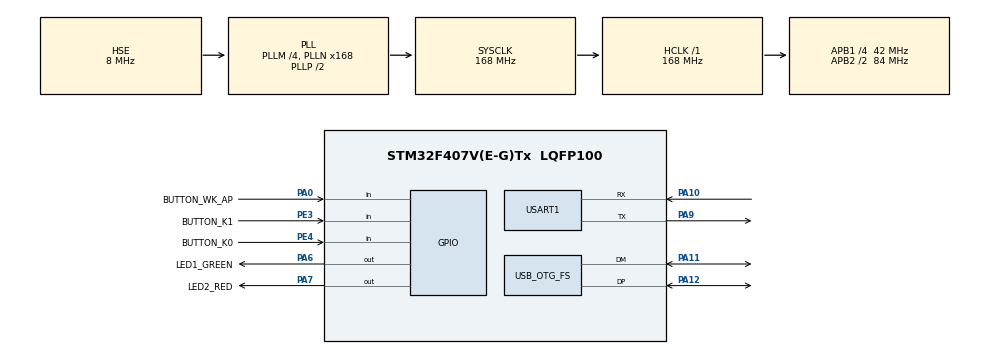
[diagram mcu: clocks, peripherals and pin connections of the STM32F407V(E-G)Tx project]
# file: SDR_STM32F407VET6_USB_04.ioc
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Mcu.Family=STM32F4
Mcu.Name=STM32F407V(E-G)Tx
Mcu.Package=LQFP100
NVIC.OTG_FS_IRQn=true\:0\:0\:false\:false\:true\:false\:true\:true
NVIC.PriorityGroup=NVIC_PRIORITYGROUP_4
PA0-WKUP.GPIO_Label=BUTTON_WK_AP
PA0-WKUP.Signal=GPIO_Input
PA10.Mode=Asynchronous
PA10.Signal=USART1_RX
PA11.Mode=Host_Only
PA11.Signal=USB_OTG_FS_DM
PA12.Mode=Host_Only
PA12.Signal=USB_OTG_FS_DP
PA6.GPIO_Label=LED1_GREEN
PA6.Signal=GPIO_Output
PA7.GPIO_Label=LED2_RED
PA7.Signal=GPIO_Output
PA9.Mode=Asynchronous
PA9.Signal=USART1_TX
PE3.GPIO_Label=BUTTON_K1
PE3.Signal=GPIO_Input
PE4.GPIO_Label=BUTTON_K0
PE4.Signal=GPIO_Input
PH0-OSC_IN.Mode=HSE-External-Oscillator
PH0-OSC_IN.Signal=RCC_OSC_IN
PH1-OSC_OUT.Mode=HSE-External-Oscillator
PH1-OSC_OUT.Signal=RCC_OSC_OUT
ProjectManager.HeapSize=0x400
ProjectManager.StackSize=0x400
ProjectManager.TargetToolchain=MDK-ARM V5.32
RCC.48MHZClocksFreq_Value=48000000
RCC.AHBFreq_Value=168000000
RCC.APB1CLKDivider=RCC_HCLK_DIV4
RCC.APB1Freq_Value=42000000
RCC.APB1TimFreq_Value=84000000
RCC.APB2CLKDivider=RCC_HCLK_DIV2
RCC.APB2Freq_Value=84000000
RCC.APB2TimCLKDivider=2
RCC.APB2TimFreq_Value=168000000
RCC.CortexFreq_Value=168000000
RCC.HCLKFreq_Value=168000000
RCC.HSE_VALUE=8000000
RCC.HSI_VALUE=16000000
RCC.LSE_VALUE=32768
RCC.PLLM=4
RCC.PLLN=168
RCC.PLLQ=7
RCC.SYSCLKFreq_VALUE=168000000
RCC.SYSCLKSource=RCC_SYSCLKSOURCE_PLLCLK
RCC.VCOOutputFreq_Value=336000000
USART1.VirtualMode=VM_ASYNC
USB_HOST.USBH_DEBUG_LEVEL-HID_FS=2
USB_HOST.USBH_HandleTypeDef-HID_FS=hUsbHostFS
USB_HOST.VirtualModeFS=Hid
USB_OTG_FS.VirtualMode=Host_Only
USB_OTG_FS.phy_itface=HCD_PHY_EMBEDDED
VP_TIM3_VS_ClockSourceINT.Mode=Internal
VP_USB_HOST_VS_USB_HOST_HID_FS.Mode=HID_FS
board=custom

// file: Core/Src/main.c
/* USER CODE BEGIN Header */
/**
  ******************************************************************************
  * @file           : main.c
  * @brief          : Main program body
  ******************************************************************************
  * @attention
  *
  * Copyright (c) 2023 STMicroelectronics.
  * All rights reserved.
  *
  * This software is licensed under terms that can be found in the LICENSE file
  * in the root directory of this software component.
  * If no LICENSE file comes with this software, it is provided AS-IS.
  *
  ******************************************************************************
  */
/* USER CODE END Header */
#include "main.h"
#include "usb_host.h"

/* USER CODE BEGIN Includes */
#include "stdint.h"
#include "string.h"
#include <stdlib.h>
#include <stdio.h>

/* USER CODE END Includes */

/* USER CODE BEGIN PTD */
GPIO_TypeDef* GPIO_PORT[LEDn] = {LED1_GREEN_GPIO_Port,
                                 LED2_RED_GPIO_Port};

const uint16_t GPIO_PIN[LEDn] = {LED1_GREEN_Pin,
	                               LED2_RED_Pin};

void BSP_LED_On(Led_TypeDef Led)
{
  HAL_GPIO_WritePin(GPIO_PORT[Led], GPIO_PIN[Led], GPIO_PIN_RESET);
}

void BSP_LED_Off(Led_TypeDef Led)
{
  HAL_GPIO_WritePin(GPIO_PORT[Led], GPIO_PIN[Led], GPIO_PIN_SET);
}

void BSP_LED_Toggle(Led_TypeDef Led)
{
  HAL_GPIO_TogglePin(GPIO_PORT[Led], GPIO_PIN[Led]);
}

GPIO_TypeDef* BUTTON_PORT[BUTTONn] = {BUTTON_WK_AP_GPIO_Port,
                                      BUTTON_K0_GPIO_Port,
                                      BUTTON_K1_GPIO_Port};

const uint16_t BUTTON_PIN[BUTTONn] = {BUTTON_WK_AP_Pin,
                                      BUTTON_K0_Pin,
                                      BUTTON_K1_Pin};

const uint16_t BUTTON_IRQn[BUTTONn] = {BUTTON_WK_AP_EXTI_IRQn,
                                       BUTTON_K0_EXTI_IRQn,
                                       BUTTON_K1_EXTI_IRQn};

uint32_t BSP_PB_GetState(Button_TypeDef Button)
{
  return HAL_GPIO_ReadPin(BUTTON_PORT[Button], BUTTON_PIN[Button]);
}

/* USER CODE END PTD */

/* USER CODE BEGIN PD */
USBH_HandleTypeDef hUSBHost;
/* USER CODE END PD */

/* USER CODE BEGIN PM */
uint8_t currentScreen=0;
/* USER CODE END PM */

TIM_HandleTypeDef htim3;

UART_HandleTypeDef huart1;

/* USER CODE BEGIN PV */
	#ifdef __GNUC__
  /* With GCC, small printf (option LD Linker->Libraries->Small printf
     set to 'Yes') calls __io_putchar() */
  #define PUTCHAR_PROTOTYPE int __io_putchar(int ch)
#else
  #define PUTCHAR_PROTOTYPE int fputc(int ch, FILE *f)
#endif /* __GNUC__ */

/* USER CODE END PV */

void SystemClock_Config(void);
static void MX_GPIO_Init(void);
static void MX_USART1_UART_Init(void);
static void MX_TIM3_Init(void);
void MX_USB_HOST_Process(void);

int main(void)
{

  /* MCU Configuration--------------------------------------------------------*/

  /* Reset of all peripherals, Initializes the Flash interface and the Systick. */
  HAL_Init();

  /* Configure the system clock */
  SystemClock_Config();

  /* Initialize all configured peripherals */
  MX_GPIO_Init();
  MX_USART1_UART_Init();
  MX_USB_HOST_Init();
  MX_TIM3_Init();
  /* USER CODE BEGIN 2 */
	BSP_LED_Off(LED1);
	BSP_LED_Off(LED2);
	HAL_Delay(200);
	BSP_LED_On(LED1);
	BSP_LED_On(LED2);
	HAL_Delay(200);
	BSP_LED_Off(LED1);
	BSP_LED_Off(LED2);
	printf("Start system\r\n");

//	uint8_t start_text[]="Hello from start\n\r";
//	HAL_UART_Transmit(&huart1,start_text,20,0xFFFF);

RTLSDR_HandleTypeDef *RTLSDR_Handle =	(RTLSDR_HandleTypeDef*) hUSBHost.pActiveClass->pData;

#ifdef USE_USB_HS
  //LCD_LOG_SetHeader((uint8_t *)" USB OTG HS RTLSDR Host");
  LCD_LOG_SetHeader((uint8_t *)" STM32F7 USB HS RTL-SDR Host");
#else
  printf("STM32F4 USB FS RTL-SDR Host\r\n");
#endif

  /* USER CODE END 2 */

  /* Infinite loop */
  while (1)
  {
    MX_USB_HOST_Process();

    /* USER CODE BEGIN 3 */
//		if (RTLSDR_Handle->xferState==RTLSDR_XFER_COMPLETE)
//		{
//			printf("RTLSDR_Handle\r\n");
//		USBH_UsrLog("St %d", *RTLSDR_Handle);
//		//	printf("St %d", *RTLSDR_Handle);
//		RTLSDR_Handle->xferState = RTLSDR_XFER_START;
//		}

  }
  /* USER CODE END 3 */
}

void SystemClock_Config(void)
{
  RCC_OscInitTypeDef RCC_OscInitStruct = {0};
  RCC_ClkInitTypeDef RCC_ClkInitStruct = {0};

  /** Configure the main internal regulator output voltage
  */
  __HAL_RCC_PWR_CLK_ENABLE();
  __HAL_PWR_VOLTAGESCALING_CONFIG(PWR_REGULATOR_VOLTAGE_SCALE1);

  /** Initializes the RCC Oscillators according to the specified parameters
  * in the RCC_OscInitTypeDef structure.
  */
  RCC_OscInitStruct.OscillatorType = RCC_OSCILLATORTYPE_HSE;
  RCC_OscInitStruct.HSEState = RCC_HSE_ON;
  RCC_OscInitStruct.PLL.PLLState = RCC_PLL_ON;
  RCC_OscInitStruct.PLL.PLLSource = RCC_PLLSOURCE_HSE;
  RCC_OscInitStruct.PLL.PLLM = 4;
  RCC_OscInitStruct.PLL.PLLN = 168;
  RCC_OscInitStruct.PLL.PLLP = RCC_PLLP_DIV2;
  RCC_OscInitStruct.PLL.PLLQ = 7;
  if (HAL_RCC_OscConfig(&RCC_OscInitStruct) != HAL_OK)
  {
    Error_Handler();
  }

  /** Initializes the CPU, AHB and APB buses clocks
  */
  RCC_ClkInitStruct.ClockType = RCC_CLOCKTYPE_HCLK|RCC_CLOCKTYPE_SYSCLK
                              |RCC_CLOCKTYPE_PCLK1|RCC_CLOCKTYPE_PCLK2;
  RCC_ClkInitStruct.SYSCLKSource = RCC_SYSCLKSOURCE_PLLCLK;
  RCC_ClkInitStruct.AHBCLKDivider = RCC_SYSCLK_DIV1;
  RCC_ClkInitStruct.APB1CLKDivider = RCC_HCLK_DIV4;
  RCC_ClkInitStruct.APB2CLKDivider = RCC_HCLK_DIV2;

  if (HAL_RCC_ClockConfig(&RCC_ClkInitStruct, FLASH_LATENCY_5) != HAL_OK)
  {
    Error_Handler();
  }
}

static void MX_TIM3_Init(void)
{

  TIM_ClockConfigTypeDef sClockSourceConfig = {0};
  TIM_MasterConfigTypeDef sMasterConfig = {0};

  htim3.Instance = TIM3;
  htim3.Init.Prescaler = 0;
  htim3.Init.CounterMode = TIM_COUNTERMODE_UP;
  htim3.Init.Period = 65535;
  htim3.Init.ClockDivision = TIM_CLOCKDIVISION_DIV1;
  htim3.Init.AutoReloadPreload = TIM_AUTORELOAD_PRELOAD_DISABLE;
  if (HAL_TIM_Base_Init(&htim3) != HAL_OK)
  {
    Error_Handler();
  }
  sClockSourceConfig.ClockSource = TIM_CLOCKSOURCE_INTERNAL;
  if (HAL_TIM_ConfigClockSource(&htim3, &sClockSourceConfig) != HAL_OK)
  {
    Error_Handler();
  }
  sMasterConfig.MasterOutputTrigger = TIM_TRGO_RESET;
  sMasterConfig.MasterSlaveMode = TIM_MASTERSLAVEMODE_DISABLE;
  if (HAL_TIMEx_MasterConfigSynchronization(&htim3, &sMasterConfig) != HAL_OK)
  {
    Error_Handler();
  }

}

static void MX_USART1_UART_Init(void)
{

  huart1.Instance = USART1;
  huart1.Init.BaudRate = 115200;
  huart1.Init.WordLength = UART_WORDLENGTH_8B;
  huart1.Init.StopBits = UART_STOPBITS_1;
  huart1.Init.Parity = UART_PARITY_NONE;
  huart1.Init.Mode = UART_MODE_TX_RX;
  huart1.Init.HwFlowCtl = UART_HWCONTROL_NONE;
  huart1.Init.OverSampling = UART_OVERSAMPLING_16;
  if (HAL_UART_Init(&huart1) != HAL_OK)
  {
    Error_Handler();
  }

}

static void MX_GPIO_Init(void)
{
  GPIO_InitTypeDef GPIO_InitStruct = {0};

  /* GPIO Ports Clock Enable */
  __HAL_RCC_GPIOE_CLK_ENABLE();
  __HAL_RCC_GPIOH_CLK_ENABLE();
  __HAL_RCC_GPIOA_CLK_ENABLE();

  /*Configure GPIO pin Output Level */
  HAL_GPIO_WritePin(GPIOA, LED1_GREEN_Pin|LED2_RED_Pin, GPIO_PIN_RESET);

  /*Configure GPIO pins : BUTTON_K1_Pin BUTTON_K0_Pin */
  GPIO_InitStruct.Pin = BUTTON_K1_Pin|BUTTON_K0_Pin;
  GPIO_InitStruct.Mode = GPIO_MODE_INPUT;
  GPIO_InitStruct.Pull = GPIO_NOPULL;
  HAL_GPIO_Init(GPIOE, &GPIO_InitStruct);

  /*Configure GPIO pin : BUTTON_WK_AP_Pin */
  GPIO_InitStruct.Pin = BUTTON_WK_AP_Pin;
  GPIO_InitStruct.Mode = GPIO_MODE_INPUT;
  GPIO_InitStruct.Pull = GPIO_NOPULL;
  HAL_GPIO_Init(BUTTON_WK_AP_GPIO_Port, &GPIO_InitStruct);

  /*Configure GPIO pins : LED1_GREEN_Pin LED2_RED_Pin */
  GPIO_InitStruct.Pin = LED1_GREEN_Pin|LED2_RED_Pin;
  GPIO_InitStruct.Mode = GPIO_MODE_OUTPUT_PP;
  GPIO_InitStruct.Pull = GPIO_NOPULL;
  GPIO_InitStruct.Speed = GPIO_SPEED_FREQ_LOW;
  HAL_GPIO_Init(GPIOA, &GPIO_InitStruct);

}

/* USER CODE BEGIN 4 */

PUTCHAR_PROTOTYPE
{
  /* Place your implementation of fputc here */
  /* e.g. write a character to the EVAL_COM1 and Loop until the end of transmission */
  HAL_UART_Transmit(&huart1, (uint8_t *)&ch, 1, 0xFFFF);

  return ch;
}

/* USER CODE END 4 */

void Error_Handler(void)
{
  /* USER CODE BEGIN Error_Handler_Debug */
  /* User can add his own implementation to report the HAL error return state */
	BSP_LED_Toggle(LED2);
	HAL_Delay(100);
	BSP_LED_Toggle(LED2);
	HAL_Delay(100);
	BSP_LED_Toggle(LED2);
	HAL_Delay(100);
	BSP_LED_Toggle(LED2);

  __disable_irq();
  while (1)
  {
  }
  /* USER CODE END Error_Handler_Debug */
}
